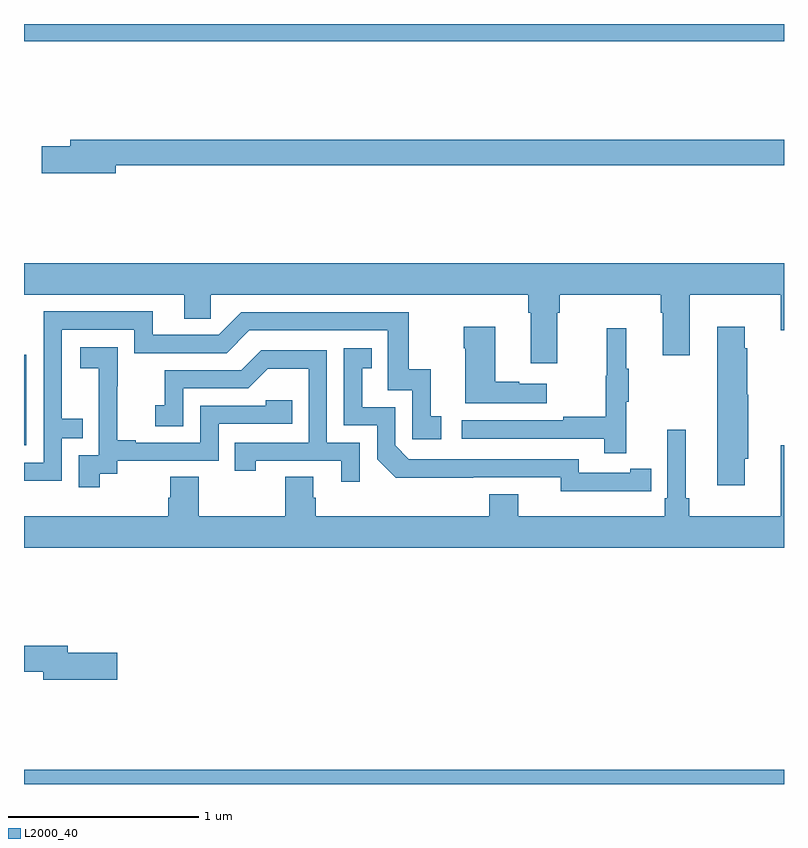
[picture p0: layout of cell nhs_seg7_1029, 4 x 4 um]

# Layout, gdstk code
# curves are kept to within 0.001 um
import gdstk
lib = gdstk.Library(unit=1e-6, precision=1e-09)
def R(c, l, rs):  # rectangles x0, y0, x1, y1
    for r in rs: c.add(gdstk.rectangle(r[:2], r[2:], *l))
def P(c, l, *ps):  # polygons
    for p in ps: c.add(gdstk.Polygon(p, *l))
L2000_40 = (2000, 40)

nhs_seg7_1029 = lib.new_cell('nhs_seg7_1029')
R(nhs_seg7_1029, L2000_40, [(185,1038,189,1038.076), (185,1039.782,185.013,1040.259), (185,1041.908,189,1042)])
P(nhs_seg7_1029, L2000_40, [(185.482,1041.256),(189,1041.256),(189,1041.392),(185.243,1041.392),(185.243,1041.356),(185.094,1041.356),(185.094,1041.214),(185.482,1041.214)],
  [(187.807,1040.48),(187.82,1040.48),(187.82,1040.576),(188.351,1040.576),(188.351,1040.48),(188.363,1040.48),(188.363,1040.256),(188.503,1040.256),(188.503,1040.576),(188.984,1040.576),(188.984,1040.388),(189,1040.388),(189,1040.74),(185,1040.74),(185,1040.576),(185.843,1040.576),(185.843,1040.449),(185.982,1040.449),(185.982,1040.576),(187.655,1040.576),(187.655,1040.48),(187.667,1040.48),(187.667,1040.214),(187.807,1040.214)],
  [(185.199,1039.821),(185.309,1039.821),(185.309,1039.922),(185.199,1039.922),(185.199,1040.391),(185.58,1040.391),(185.58,1040.268),(186.066,1040.268),(186.186,1040.388),(186.915,1040.388),(186.915,1040.073),(187.044,1040.073),(187.044,1039.815),(187.195,1039.815),(187.195,1039.935),(187.142,1039.935),(187.142,1040.182),(187.024,1040.182),(187.024,1040.484),(186.144,1040.484),(186.024,1040.364),(185.677,1040.364),(185.677,1040.487),(185.103,1040.487),(185.103,1039.692),(185,1039.692),(185,1039.596),(185.199,1039.596)],
  [(188.794,1039.713),(188.812,1039.713),(188.812,1040.049),(188.807,1040.049),(188.807,1040.294),(188.794,1040.294),(188.794,1040.407),(188.648,1040.407),(188.648,1039.572),(188.794,1039.572)],
  [(187.75,1040.107),(187.607,1040.107),(187.607,1040.117),(187.48,1040.117),(187.48,1040.407),(187.315,1040.407),(187.315,1040.294),(187.322,1040.294),(187.322,1040.003),(187.75,1040.003)],
  [(188.171,1040.011),(188.182,1040.011),(188.182,1040.185),(188.171,1040.185),(188.171,1040.398),(188.068,1040.398),(188.068,1040.148),(188.061,1040.148),(188.061,1039.934),(187.837,1039.934),(187.837,1039.914),(187.305,1039.914),(187.305,1039.818),(188.053,1039.818),(188.053,1039.74),(188.171,1039.74)],
  [(185.398,1039.632),(185.49,1039.632),(185.49,1039.701),(186.024,1039.701),(186.024,1039.896),(186.413,1039.896),(186.413,1040.019),(186.273,1040.019),(186.273,1039.992),(185.928,1039.992),(185.928,1039.797),(185.587,1039.797),(185.587,1039.81),(185.492,1039.81),(185.492,1040.093),(185.493,1040.093),(185.493,1040.299),(185.295,1040.299),(185.295,1040.189),(185.393,1040.189),(185.393,1039.961),(185.394,1039.961),(185.394,1039.731),(185.289,1039.731),(185.289,1039.563),(185.398,1039.563)],
  [(188.192,1039.542),(188.3,1039.542),(188.3,1039.658),(188.192,1039.658),(188.192,1039.638),(187.92,1039.638),(187.92,1039.71),(187.026,1039.71),(186.954,1039.782),(186.954,1039.983),(186.781,1039.983),(186.781,1040.187),(186.83,1040.187),(186.83,1040.293),(186.684,1040.293),(186.684,1039.887),(186.858,1039.887),(186.858,1039.71),(186.956,1039.613),(187.824,1039.614),(187.824,1039.541)],
  [(186.768,1039.797),(186.594,1039.797),(186.594,1040.283),(186.248,1040.283),(186.143,1040.178),(185.74,1040.178),(185.74,1039.993),(185.691,1039.993),(185.691,1039.884),(185.838,1039.884),(185.838,1040.082),(186.18,1040.082),(186.284,1040.186),(186.498,1040.186),(186.498,1039.797),(186.109,1039.797),(186.109,1039.65),(186.22,1039.65),(186.22,1039.701),(186.671,1039.701),(186.671,1039.59),(186.768,1039.59)],
  [(189,1039.783),(188.984,1039.783),(188.984,1039.408),(188.501,1039.408),(188.501,1039.504),(188.482,1039.504),(188.482,1039.864),(188.385,1039.864),(188.385,1039.504),(188.372,1039.504),(188.372,1039.408),(187.6,1039.408),(187.6,1039.525),(187.448,1039.525),(187.448,1039.408),(186.536,1039.408),(186.536,1039.506),(186.523,1039.506),(186.523,1039.616),(186.376,1039.616),(186.376,1039.408),(185.919,1039.408),(185.919,1039.616),(185.771,1039.616),(185.771,1039.506),(185.759,1039.506),(185.759,1039.408),(185,1039.408),(185,1039.244),(189,1039.244)],
  [(185.491,1038.692),(185.23,1038.692),(185.23,1038.728),(185,1038.728),(185,1038.592),(185.102,1038.592),(185.102,1038.55),(185.491,1038.55)])

lib.write_gds('nhs_seg7_1029.gds')
